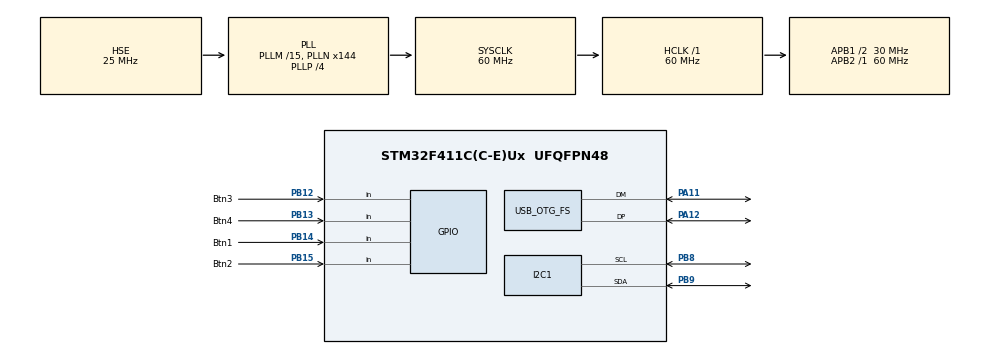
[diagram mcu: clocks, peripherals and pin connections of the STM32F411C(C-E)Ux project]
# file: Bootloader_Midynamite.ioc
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Mcu.Family=STM32F4
Mcu.Name=STM32F411C(C-E)Ux
Mcu.Package=UFQFPN48
NVIC.OTG_FS_IRQn=true\:0\:0\:false\:false\:true\:false\:true\:true
NVIC.PriorityGroup=NVIC_PRIORITYGROUP_4
PA11.Mode=Device_Only
PA11.Signal=USB_OTG_FS_DM
PA12.Mode=Device_Only
PA12.Signal=USB_OTG_FS_DP
PB12.GPIO_Label=Btn3
PB12.GPIO_PuPd=GPIO_PULLUP
PB12.Signal=GPIO_Input
PB13.GPIO_Label=Btn4
PB13.GPIO_PuPd=GPIO_PULLUP
PB13.Signal=GPIO_Input
PB14.GPIO_Label=Btn1
PB14.GPIO_PuPd=GPIO_PULLUP
PB14.Signal=GPIO_Input
PB15.GPIO_Label=Btn2
PB15.GPIO_PuPd=GPIO_PULLUP
PB15.Signal=GPIO_Input
PB8.Mode=I2C
PB8.Signal=I2C1_SCL
PB9.Mode=I2C
PB9.Signal=I2C1_SDA
PH0\ -\ OSC_IN.Mode=HSE-External-Oscillator
PH0\ -\ OSC_IN.Signal=RCC_OSC_IN
PH1\ -\ OSC_OUT.Mode=HSE-External-Oscillator
PH1\ -\ OSC_OUT.Signal=RCC_OSC_OUT
ProjectManager.HeapSize=0x200
ProjectManager.StackSize=0x400
ProjectManager.TargetToolchain=STM32CubeIDE
RCC.48MHZClocksFreq_Value=48000000
RCC.AHBFreq_Value=60000000
RCC.APB1CLKDivider=RCC_HCLK_DIV2
RCC.APB1Freq_Value=30000000
RCC.APB1TimFreq_Value=60000000
RCC.APB2Freq_Value=60000000
RCC.APB2TimFreq_Value=60000000
RCC.CortexFreq_Value=60000000
RCC.HCLKFreq_Value=60000000
RCC.HSE_VALUE=25000000
RCC.HSI_VALUE=16000000
RCC.LSE_VALUE=32768
RCC.PLLM=15
RCC.PLLN=144
RCC.PLLP=RCC_PLLP_DIV4
RCC.PLLQ=5
RCC.SYSCLKFreq_VALUE=60000000
RCC.SYSCLKSource=RCC_SYSCLKSOURCE_PLLCLK
RCC.VCOOutputFreq_Value=240000000
USB_DEVICE.CLASS_NAME_FS=MSC
USB_DEVICE.VirtualMode=Msc
USB_DEVICE.VirtualModeFS=Msc_FS
USB_OTG_FS.VirtualMode=Device_Only
VP_USB_DEVICE_VS_USB_DEVICE_MSC_FS.Mode=MSC_FS
board=custom

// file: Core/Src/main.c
/* USER CODE BEGIN Header */
/**
  ******************************************************************************
  * @file           : main.c
  * @brief          : Main program body
  ******************************************************************************
  * @attention
  *
  * Copyright (c) 2025 STMicroelectronics.
  * All rights reserved.
  *
  * This software is licensed under terms that can be found in the LICENSE file
  * in the root directory of this software component.
  * If no LICENSE file comes with this software, it is provided AS-IS.
  *
  ******************************************************************************
  */
/* USER CODE END Header */

/* USER CODE BEGIN Includes */
#include <string.h>

#include "bootloader.h"
#include "main.h"
#include "screen_driver.h"
#include "screen_driver_fonts.h"
#include "usb_device.h"
#include "usbd_core.h"

extern USBD_HandleTypeDef hUsbDeviceFS;

/* USER CODE END Includes */

I2C_HandleTypeDef hi2c1;

void SystemClock_Config(void);
static void MX_GPIO_Init(void);
static void MX_I2C1_Init(void);

int main(void)
{

  /* MCU Configuration--------------------------------------------------------*/

  /* Reset of all peripherals, Initializes the Flash interface and the Systick. */
  HAL_Init();

  /* Configure the system clock */
  SystemClock_Config();

  /* Initialize all configured peripherals */
  MX_GPIO_Init();
  MX_I2C1_Init();
  /* USER CODE BEGIN 2 */

  // Check if both buttons are pressed: Btn3 = PB12, Btn4 = PB13
  if (HAL_GPIO_ReadPin(GPIOB, Btn1_Pin) == 0 &&
      HAL_GPIO_ReadPin(GPIOB, Btn2_Pin) == 0)
  {
      HAL_Delay(50);
      if (HAL_GPIO_ReadPin(GPIOB, Btn1_Pin) == 0 &&
          HAL_GPIO_ReadPin(GPIOB, Btn2_Pin) == 0)
      {
          MX_USB_DEVICE_Init();
          Bootloader_InitCRC32();
          screen_driver_Init();
          screen_driver_Fill(Black);
          screen_driver_SetCursor_WriteString("Bootloader Mode", Font_6x8, White, 10, 0);
          screen_driver_SetCursor_WriteString("Upload FIRMWIRE.BIN", Font_6x8, White, 10, 10);
          screen_driver_UpdateScreen();

          while (!g_update_complete)
          {
              if (g_file_detected == 1)
              {
                  screen_driver_SetCursor_WriteString("File detected", Font_6x8, White, 10, 20);
                  screen_driver_UpdateScreen();
                  g_file_detected = 2;
              }

              if (update_failed == 1)
              {
            	    screen_driver_SetCursor_WriteString("Write error", Font_6x8, White, 10, 30);
            	    screen_driver_UpdateScreen();
            	    USBD_Stop(&hUsbDeviceFS);
              }

          }

          // CRC was OK if we got here
          screen_driver_SetCursor_WriteString("Restart the pedal", Font_6x8, White, 10, 50);
          screen_driver_UpdateScreen();
          HAL_Delay(1000);
          Bootloader_JumpToApplication();  // Safe to jump
      }
  }
  else
  {
      Bootloader_JumpToApplication();
  }
  // Check if both buttons are pressed for bootloader mode

       // Jump directly to main application

  /* USER CODE END 2 */

  /* Infinite loop */
  while (1)
  {

  }
}

void SystemClock_Config(void)
{
  RCC_OscInitTypeDef RCC_OscInitStruct = {0};
  RCC_ClkInitTypeDef RCC_ClkInitStruct = {0};

  /** Configure the main internal regulator output voltage
  */
  __HAL_RCC_PWR_CLK_ENABLE();
  __HAL_PWR_VOLTAGESCALING_CONFIG(PWR_REGULATOR_VOLTAGE_SCALE1);

  /** Initializes the RCC Oscillators according to the specified parameters
  * in the RCC_OscInitTypeDef structure.
  */
  RCC_OscInitStruct.OscillatorType = RCC_OSCILLATORTYPE_HSE;
  RCC_OscInitStruct.HSEState = RCC_HSE_ON;
  RCC_OscInitStruct.PLL.PLLState = RCC_PLL_ON;
  RCC_OscInitStruct.PLL.PLLSource = RCC_PLLSOURCE_HSE;
  RCC_OscInitStruct.PLL.PLLM = 15;
  RCC_OscInitStruct.PLL.PLLN = 144;
  RCC_OscInitStruct.PLL.PLLP = RCC_PLLP_DIV4;
  RCC_OscInitStruct.PLL.PLLQ = 5;
  if (HAL_RCC_OscConfig(&RCC_OscInitStruct) != HAL_OK)
  {
    Error_Handler();
  }

  /** Initializes the CPU, AHB and APB buses clocks
  */
  RCC_ClkInitStruct.ClockType = RCC_CLOCKTYPE_HCLK|RCC_CLOCKTYPE_SYSCLK
                              |RCC_CLOCKTYPE_PCLK1|RCC_CLOCKTYPE_PCLK2;
  RCC_ClkInitStruct.SYSCLKSource = RCC_SYSCLKSOURCE_PLLCLK;
  RCC_ClkInitStruct.AHBCLKDivider = RCC_SYSCLK_DIV1;
  RCC_ClkInitStruct.APB1CLKDivider = RCC_HCLK_DIV2;
  RCC_ClkInitStruct.APB2CLKDivider = RCC_HCLK_DIV1;

  if (HAL_RCC_ClockConfig(&RCC_ClkInitStruct, FLASH_LATENCY_2) != HAL_OK)
  {
    Error_Handler();
  }
}

static void MX_I2C1_Init(void)
{

  hi2c1.Instance = I2C1;
  hi2c1.Init.ClockSpeed = 100000;
  hi2c1.Init.DutyCycle = I2C_DUTYCYCLE_2;
  hi2c1.Init.OwnAddress1 = 0;
  hi2c1.Init.AddressingMode = I2C_ADDRESSINGMODE_7BIT;
  hi2c1.Init.DualAddressMode = I2C_DUALADDRESS_DISABLE;
  hi2c1.Init.OwnAddress2 = 0;
  hi2c1.Init.GeneralCallMode = I2C_GENERALCALL_DISABLE;
  hi2c1.Init.NoStretchMode = I2C_NOSTRETCH_DISABLE;
  if (HAL_I2C_Init(&hi2c1) != HAL_OK)
  {
    Error_Handler();
  }

}

static void MX_GPIO_Init(void)
{
  GPIO_InitTypeDef GPIO_InitStruct = {0};

  /* GPIO Ports Clock Enable */
  __HAL_RCC_GPIOH_CLK_ENABLE();
  __HAL_RCC_GPIOB_CLK_ENABLE();
  __HAL_RCC_GPIOA_CLK_ENABLE();

  /*Configure GPIO pins : Btn3_Pin Btn4_Pin Btn1_Pin Btn2_Pin */
  GPIO_InitStruct.Pin = Btn3_Pin|Btn4_Pin|Btn1_Pin|Btn2_Pin;
  GPIO_InitStruct.Mode = GPIO_MODE_INPUT;
  GPIO_InitStruct.Pull = GPIO_PULLUP;
  HAL_GPIO_Init(GPIOB, &GPIO_InitStruct);

}

void Error_Handler(void)
{
  __disable_irq();
  while (1)
  {
  }
}
